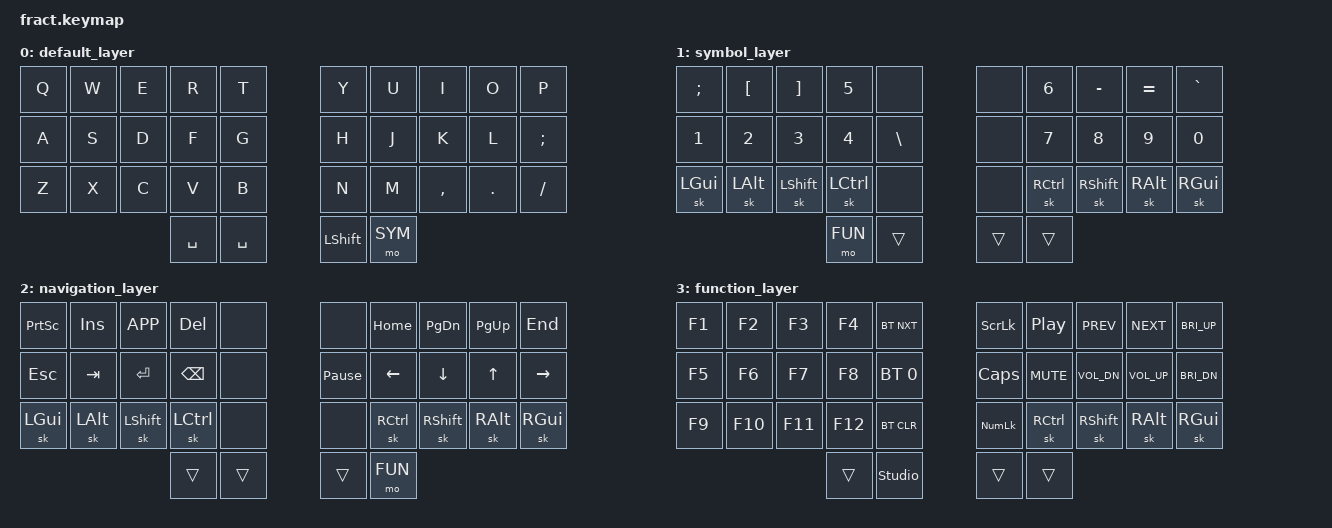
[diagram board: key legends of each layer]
/*
 * Copyright (c) 2024 The ZMK Contributors
 *
 * SPDX-License-Identifier: MIT
 */

#include <behaviors.dtsi>
#include <dt-bindings/zmk/keys.h>
#include <dt-bindings/zmk/bt.h>

#define DEF 0
#define SYM 1
#define NAV 2
#define FUN 3

/ {
    keymap {
        compatible = "zmk,keymap";

        default_layer {
            bindings = <
                &kp Q    &kp W &kp E &kp R   &kp T     &kp Y     &kp U   &kp I     &kp O   &kp P
                &kp A    &kp S &kp D &kp F   &kp G     &kp H     &kp J   &kp K     &kp L   &kp SEMI
                &kp Z    &kp X &kp C &kp V   &kp B     &kp N     &kp M   &kp COMMA &kp DOT &kp SLASH
                                     &kp SPACE &kp SPACE &kp LSHFT &mo SYM
            >;
        };

        symbol_layer {
            bindings = <
                &kp SEMI &kp LBKT &kp RBKT  &kp N5    &none    &none  &kp N6    &kp MINUS &kp EQUAL &kp GRAVE
                &kp N1   &kp N2   &kp N3    &kp N4    &kp BSLH &none  &kp N7    &kp N8    &kp N9    &kp N0
                &sk LGUI &sk LALT &sk LSHFT &sk LCTRL &none    &none  &sk RCTRL &sk RSHFT &sk RALT  &sk RGUI
                                            &mo FUN   &trans   &trans &trans
            >;
        };

        navigation_layer {
            bindings = <
                &kp PSCRN &kp INS  &kp K_APP &kp DEL   &none  &none           &kp HOME  &kp PG_DN &kp PG_UP &kp END 
                &kp ESC   &kp TAB  &kp ENTER &kp BSPC  &none  &kp PAUSE_BREAK &kp LEFT  &kp DOWN  &kp UP    &kp RIGHT
                &sk LGUI  &sk LALT &sk LSHFT &sk LCTRL &none  &none           &sk RCTRL &sk RSHFT &sk RALT  &sk RGUI
                                             &trans    &trans &trans          &mo FUN
            >;
        };

        function_layer {
            bindings = <
                &kp F1 &kp F2  &kp F3  &kp F4  &bt BT_NXT     &kp SLCK   &kp C_PP   &kp C_PREV   &kp C_NEXT   &kp C_BRI_UP
                &kp F5 &kp F6  &kp F7  &kp F8  &bt BT_SEL 0   &kp CLCK   &kp C_MUTE &kp C_VOL_DN &kp C_VOL_UP &kp C_BRI_DN
                &kp F9 &kp F10 &kp F11 &kp F12 &bt BT_CLR     &kp KP_NUM &sk RCTRL  &sk RSHFT    &sk RALT     &sk RGUI
                                       &trans  &studio_unlock &trans     &trans
            >;
        };
    };
};
